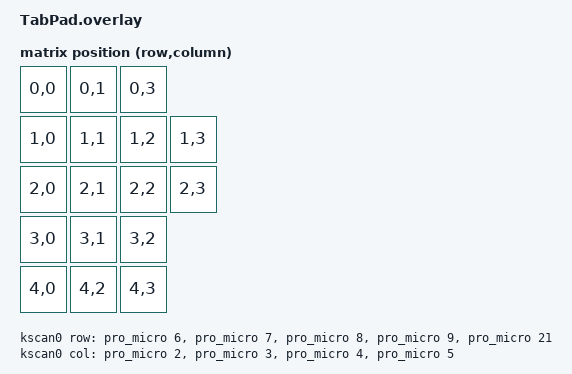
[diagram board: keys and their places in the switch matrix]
#include <dt-bindings/zmk/matrix_transform.h>

/ {
    chosen {
        zmk,kscan = &kscan0;
        zmk,matrix_transform = &default_transform;
    };

    kscan0: kscan_0 {
        compatible = "zmk,kscan-gpio-matrix";
        diode-direction = "col2row";
        wakeup-source;

        col-gpios
            = <&pro_micro 2 GPIO_ACTIVE_HIGH>
            , <&pro_micro 3 GPIO_ACTIVE_HIGH>
            , <&pro_micro 4 GPIO_ACTIVE_HIGH>
            , <&pro_micro 5 GPIO_ACTIVE_HIGH>
            ;

        row-gpios
            = <&pro_micro 6 (GPIO_ACTIVE_HIGH | GPIO_PULL_DOWN)>
            , <&pro_micro 7 (GPIO_ACTIVE_HIGH | GPIO_PULL_DOWN)>
            , <&pro_micro 8 (GPIO_ACTIVE_HIGH | GPIO_PULL_DOWN)>
            , <&pro_micro 9 (GPIO_ACTIVE_HIGH | GPIO_PULL_DOWN)>
            , <&pro_micro 21 (GPIO_ACTIVE_HIGH | GPIO_PULL_DOWN)>
            ;
    };


 default_transform: keymap_transform {
        compatible = "zmk,matrix-transform";
        columns = <4>;
        rows = <5>;

        map = <
            RC(0,0) RC(0,1) RC(0,3)
            RC(1,0) RC(1,1) RC(1,2) RC(1,3)
            RC(2,0) RC(2,1) RC(2,2) RC(2,3)
            RC(3,0) RC(3,1) RC(3,2)
            RC(4,0) RC(4,2) RC(4,3)
            >;
    };
};


